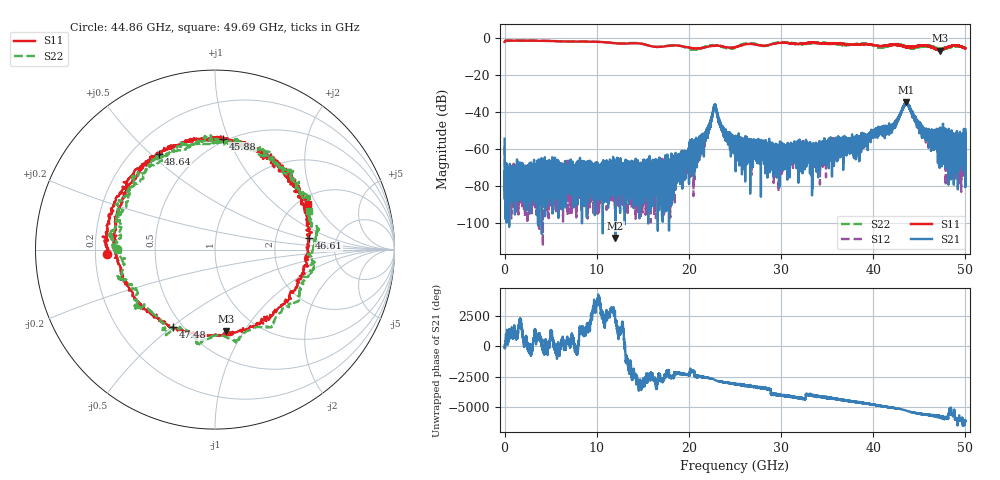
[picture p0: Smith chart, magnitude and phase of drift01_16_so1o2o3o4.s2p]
!Created with skrf (http://scikit-rf.org).
# Hz S RI R 50.0
!freq ReS11 ImS11 ReS21 ImS21 ReS12 ImS12 ReS22 ImS22
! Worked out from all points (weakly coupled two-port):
!   10001 points, 300 kHz to 50 GHz, reference 50 ohm
!   highest |S21| = -34.70 dB at 43.61 GHz (marker M1); lowest = -108.0 dB at 12.01 GHz (marker M2)
!   lowest |S11| = -6.8 dB at 47.24 GHz (marker M3), VSWR 2.69, Z = 36.2 - j41.6 ohm
!   |S11| at or under -10 dB: nowhere
!   |S22| runs from -6.5 to -1.4 dB; largest |S21 - S12| = 0.004
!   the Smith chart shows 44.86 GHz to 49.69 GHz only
!   S11 on the Smith chart (normalised r, x): 44.86 GHz: 0.25, -0.02; 45.88 GHz: 0.47, +0.95; 46.61 GHz: 3.12, +0.55; 47.48 GHz: 0.44, -0.51; 48.64 GHz: 0.31, +0.53; 49.69 GHz: 2.24, +1.70
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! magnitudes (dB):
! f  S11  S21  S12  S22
! 300 kHz  -2.1  -54.4  -58.5  -2.2
! 270.3 MHz  -1.4  -73.9  -77.0  -1.4
! 8.335 GHz  -2.0  -66.6  -75.7  -1.8
! 12.01 GHz  -2.9  -108.0  -79.4  -2.8
! 16.67 GHz  -4.8  -72.0  -69.6  -4.8
! 20.74 GHz  -5.6  -57.1  -61.1  -6.3
! 21.86 GHz  -5.0  -50.6  -51.0  -4.6
! 22.8 GHz  -4.3  -36.0  -36.3  -4.0
! 23.84 GHz  -4.8  -50.0  -50.6  -5.2
! 25 GHz  -5.0  -57.3  -58.7  -5.1
! 29.61 GHz  -2.8  -61.1  -65.9  -2.5
! 33.34 GHz  -2.6  -66.1  -62.1  -2.6
! 41.67 GHz  -3.9  -49.9  -49.2  -4.5
! 43.61 GHz  -4.8  -34.7  -35.0  -4.9
! 44.86 GHz  -4.4  -45.2  -46.0  -5.2
! 45.88 GHz  -4.2  -52.8  -51.5  -4.1
! 46.61 GHz  -5.6  -54.3  -54.5  -5.0
! 47.24 GHz  -6.8  -53.2  -52.8  -5.5
! 47.48 GHz  -6.2  -55.4  -60.9  -6.3
! 48.64 GHz  -4.1  -56.0  -60.7  -4.7
! 49.69 GHz  -4.8  -60.1  -56.8  -4.9
! 50 GHz  -5.6  -49.3  -59.5  -5.3
